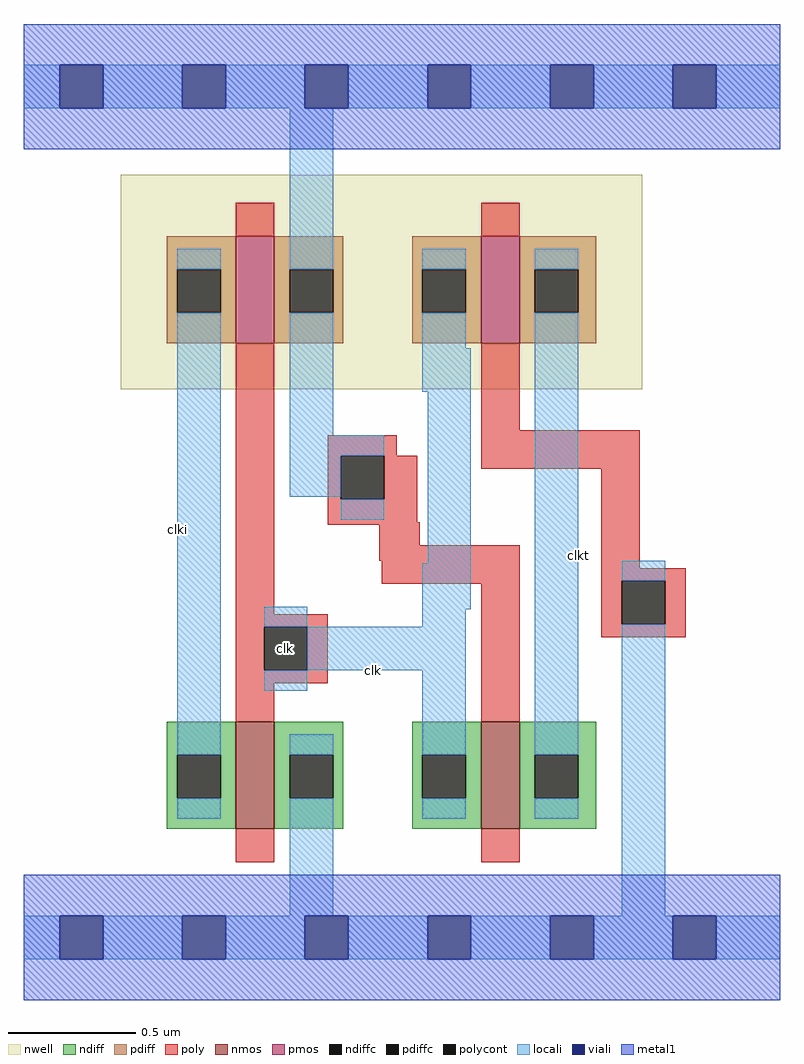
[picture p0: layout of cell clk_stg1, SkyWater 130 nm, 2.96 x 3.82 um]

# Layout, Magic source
magic
tech sky130A
<< nwell >>
rect 263 239 467 323
<< nmos >>
rect 308 67 323 109
rect 404 67 419 109
<< pmos >>
rect 308 257 323 299
rect 404 257 419 299
<< ndiff >>
rect 281 96 308 109
rect 281 79 285 96
rect 302 79 308 96
rect 281 67 308 79
rect 323 96 350 109
rect 323 79 329 96
rect 346 79 350 96
rect 323 67 350 79
rect 377 96 404 109
rect 377 79 381 96
rect 398 79 404 96
rect 377 67 404 79
rect 419 96 449 109
rect 419 79 425 96
rect 442 79 449 96
rect 419 67 449 79
<< pdiff >>
rect 281 286 308 299
rect 281 269 285 286
rect 302 269 308 286
rect 281 257 308 269
rect 323 286 350 299
rect 323 269 329 286
rect 346 269 350 286
rect 323 257 350 269
rect 377 286 404 299
rect 377 269 381 286
rect 398 269 404 286
rect 377 257 404 269
rect 419 286 449 299
rect 419 269 425 286
rect 442 269 449 286
rect 419 257 449 269
<< ndiffc >>
rect 285 79 302 96
rect 329 79 346 96
rect 381 79 398 96
rect 425 79 442 96
<< pdiffc >>
rect 285 269 302 286
rect 329 269 346 286
rect 381 269 398 286
rect 425 269 442 286
<< poly >>
rect 308 299 323 312
rect 404 299 419 312
rect 308 151 323 257
rect 404 223 419 257
rect 344 213 371 221
rect 344 196 349 213
rect 366 196 379 213
rect 404 208 466 223
rect 344 187 379 196
rect 344 186 380 187
rect 364 178 380 186
rect 364 172 419 178
rect 365 163 419 172
rect 308 146 344 151
rect 308 129 319 146
rect 336 129 344 146
rect 308 124 344 129
rect 308 109 323 124
rect 404 109 419 163
rect 451 169 466 208
rect 451 164 484 169
rect 451 147 459 164
rect 476 147 484 164
rect 451 142 484 147
rect 308 54 323 67
rect 404 54 419 67
<< polycont >>
rect 349 196 366 213
rect 319 129 336 146
rect 459 147 476 164
<< locali >>
rect 225 349 239 366
rect 256 349 287 366
rect 304 349 335 366
rect 352 349 383 366
rect 400 349 431 366
rect 448 349 479 366
rect 496 349 521 366
rect 285 286 302 294
rect 285 96 302 269
rect 329 286 346 349
rect 329 221 346 269
rect 381 286 398 294
rect 381 255 398 269
rect 425 286 442 294
rect 381 238 400 255
rect 329 213 366 221
rect 329 197 349 213
rect 349 188 366 196
rect 383 171 400 238
rect 319 146 336 154
rect 381 153 400 171
rect 381 146 398 153
rect 336 129 398 146
rect 319 121 336 129
rect 285 71 302 79
rect 329 96 346 104
rect 329 33 346 79
rect 381 96 398 129
rect 381 71 398 79
rect 425 96 442 269
rect 425 71 442 79
rect 459 164 476 172
rect 459 33 476 147
rect 225 16 239 33
rect 256 16 287 33
rect 304 16 335 33
rect 352 16 383 33
rect 400 16 431 33
rect 448 16 479 33
rect 496 16 521 33
<< viali >>
rect 239 349 256 366
rect 287 349 304 366
rect 335 349 352 366
rect 383 349 400 366
rect 431 349 448 366
rect 479 349 496 366
rect 239 16 256 33
rect 287 16 304 33
rect 335 16 352 33
rect 383 16 400 33
rect 431 16 448 33
rect 479 16 496 33
<< metal1 >>
rect 225 366 521 382
rect 225 349 239 366
rect 256 349 287 366
rect 304 349 335 366
rect 352 349 383 366
rect 400 349 431 366
rect 448 349 479 366
rect 496 349 521 366
rect 225 333 521 349
rect 225 33 521 49
rect 225 16 239 33
rect 256 16 287 33
rect 304 16 335 33
rect 352 16 383 33
rect 400 16 431 33
rect 448 16 479 33
rect 496 16 521 33
rect 225 0 521 16
<< labels >>
flabel polycont 319 129 336 146 0 FreeSans 80 0 0 0 clk
rlabel locali 362 129 362 129 5 clk
rlabel locali 442 174 442 174 3 clkt
rlabel locali 285 184 285 184 7 clki
<< end >>
